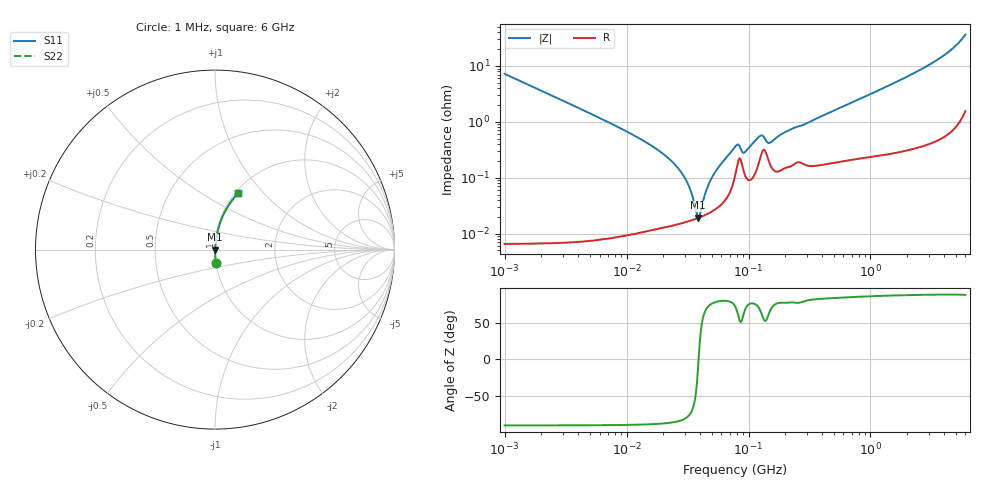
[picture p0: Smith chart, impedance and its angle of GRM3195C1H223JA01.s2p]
!Murata Part Number: GRM3195C1H223JA01
!These Parameters are Measured in Series Mode Connection
!Data Generated on Mar 30, 2021
!  o--ll--o
!Port1  Port2
!  o------o
!Operation Temp=25[degC], DC Bias Voltage=0[V]
!Freq. Start=1000[kHz] Stop=6[GHz] 401[Steps]
# Hz S RI R 50
!Freq.(Hz) S11(Real) S11(Imag) S21(Real) S21(Imag) S12(Real) S12(Imag) S22(Real) S22(Imag)
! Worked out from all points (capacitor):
!   401 points, 1 MHz to 6 GHz, reference 50 ohm
!   read as one part in series: C = 22 nF near 1.044 MHz
!   lowest |Z| = 19.3 mohm at 38.62 MHz (marker M1)
!   series resonance near 38.97 MHz, so ESL is about 760 pH
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1000000  0.00526 -0.0719  0.9947 0.0719  0.9947 0.0719  0.00526 -0.0719
4293785  0.000348 -0.0166  0.9997 0.0166  0.9997 0.0166  0.000348 -0.0166
1.0704e7  0.000134 -0.00623  0.9999 0.00623  0.9999 0.00623  0.000134 -0.00623
1.843659e7  0.000131 -0.00304  0.9999 0.00304  0.9999 0.00304  0.000131 -0.00304
2.393455e7  0.000143 -0.00188  0.9999 0.00188  0.9999 0.00188  0.000143 -0.00188
2.910942e7  0.000157 -0.0011  0.9998 0.0011  0.9998 0.0011  0.000157 -0.0011
3.316698e7  0.00017 -0.000605  0.9998 0.000605  0.9998 0.000605  0.00017 -0.000605
3.697709e7  0.000184 -0.000197  0.9998 0.000197  0.9998 0.000197  0.000184 -0.000197
3.8621e7  0.00019 -3.34e-05  0.9998 3.34e-05  0.9998 3.34e-05  0.00019 -3.34e-05
4.033799e7  0.000198 0.000131  0.9998 -0.000131  0.9998 -0.000131  0.000198 0.000131
4.497189e7  0.00022 0.000547  0.9998 -0.000547  0.9998 -0.000547  0.00022 0.000547
5.013812e7  0.00025 0.000981  0.9998 -0.000981  0.9998 -0.000981  0.00025 0.000981
7.745967e7  0.00108 0.00338  0.9989 -0.00338  0.9989 -0.00338  0.00108 0.00338
8.268215e7  0.00206 0.00333  0.9979 -0.00333  0.9979 -0.00333  0.00206 0.00333
9.218041e7  0.00123 0.00252  0.9988 -0.00252  0.9988 -0.00252  0.00123 0.00252
1.249896e8  0.00231 0.00513  0.9977 -0.00513  0.9977 -0.00513  0.00231 0.00513
1.487431e8  0.00184 0.00377  0.9982 -0.00377  0.9982 -0.00377  0.00184 0.00377
1.973453e8  0.00151 0.00627  0.9985 -0.00627  0.9985 -0.00627  0.00151 0.00627
3.325952e8  0.00172 0.0103  0.9983 -0.0103  0.9983 -0.0103  0.00172 0.0103
1.428092e9  0.00465 0.0447  0.9953 -0.0447  0.9953 -0.0447  0.00465 0.0447
3.5601e9  0.0211 0.1269  0.9789 -0.1269  0.9789 -0.1269  0.0211 0.1269
6e9  0.1284 0.3139  0.8716 -0.3139  0.8716 -0.3139  0.1284 0.3139
